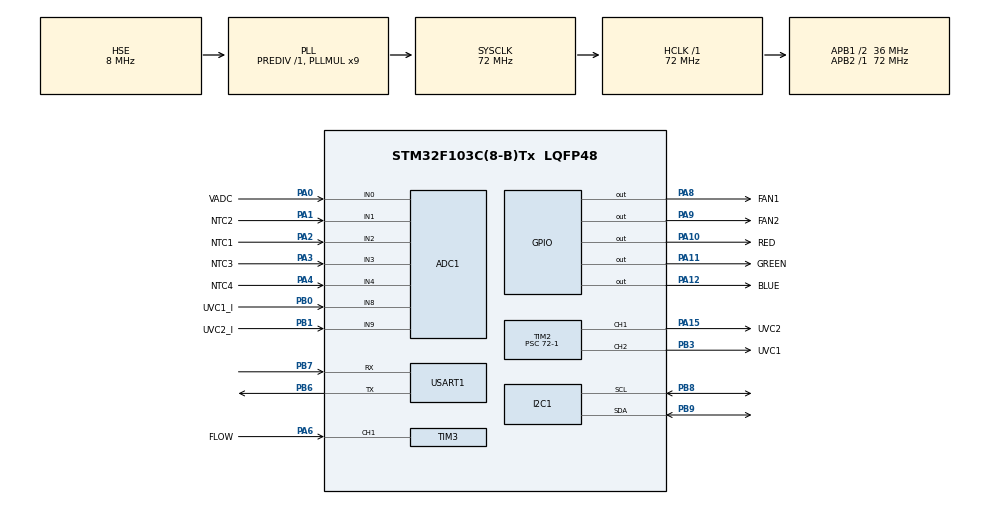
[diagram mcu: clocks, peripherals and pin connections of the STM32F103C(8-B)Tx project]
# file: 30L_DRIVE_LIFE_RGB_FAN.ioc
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ADC1.Channel-0\#ChannelRegularConversion=ADC_CHANNEL_0
ADC1.Channel-2\#ChannelRegularConversion=ADC_CHANNEL_1
ADC1.Channel-3\#ChannelRegularConversion=ADC_CHANNEL_1
ADC1.Channel-4\#ChannelRegularConversion=ADC_CHANNEL_2
ADC1.Channel-5\#ChannelRegularConversion=ADC_CHANNEL_3
ADC1.Channel-6\#ChannelRegularConversion=ADC_CHANNEL_4
ADC1.Channel-7\#ChannelRegularConversion=ADC_CHANNEL_8
ADC1.ContinuousConvMode=DISABLE
ADC1.NbrOfConversion=7
ADC1.NbrOfConversionFlag=1
ADC1.Rank-0\#ChannelRegularConversion=1
ADC1.Rank-2\#ChannelRegularConversion=2
ADC1.Rank-3\#ChannelRegularConversion=3
ADC1.Rank-4\#ChannelRegularConversion=4
ADC1.Rank-5\#ChannelRegularConversion=5
ADC1.Rank-6\#ChannelRegularConversion=6
ADC1.Rank-7\#ChannelRegularConversion=7
ADC1.SamplingTime-0\#ChannelRegularConversion=ADC_SAMPLETIME_55CYCLES_5
ADC1.SamplingTime-2\#ChannelRegularConversion=ADC_SAMPLETIME_55CYCLES_5
ADC1.SamplingTime-3\#ChannelRegularConversion=ADC_SAMPLETIME_55CYCLES_5
ADC1.SamplingTime-4\#ChannelRegularConversion=ADC_SAMPLETIME_55CYCLES_5
ADC1.SamplingTime-5\#ChannelRegularConversion=ADC_SAMPLETIME_55CYCLES_5
ADC1.SamplingTime-6\#ChannelRegularConversion=ADC_SAMPLETIME_55CYCLES_5
ADC1.SamplingTime-7\#ChannelRegularConversion=ADC_SAMPLETIME_55CYCLES_5
ADC1.master=1
Dma.ADC1.0.Direction=DMA_PERIPH_TO_MEMORY
Dma.ADC1.0.Instance=DMA1_Channel1
Dma.ADC1.0.MemDataAlignment=DMA_MDATAALIGN_HALFWORD
Dma.ADC1.0.MemInc=DMA_MINC_ENABLE
Dma.ADC1.0.Mode=DMA_CIRCULAR
Dma.ADC1.0.PeriphDataAlignment=DMA_PDATAALIGN_HALFWORD
Dma.ADC1.0.PeriphInc=DMA_PINC_DISABLE
Dma.ADC1.0.Priority=DMA_PRIORITY_MEDIUM
Dma.Request0=ADC1
Mcu.Family=STM32F1
Mcu.Name=STM32F103C(8-B)Tx
Mcu.Package=LQFP48
NVIC.DMA1_Channel1_IRQn=true\:0\:0\:false\:false\:true\:false\:true\:true
NVIC.PVD_IRQn=true\:0\:0\:false\:false\:true\:true\:true\:true
NVIC.PriorityGroup=NVIC_PRIORITYGROUP_4
PA0-WKUP.GPIO_Label=VADC
PA0-WKUP.Signal=ADCx_IN0
PA1.GPIO_Label=NTC2
PA1.Signal=ADCx_IN1
PA10.GPIO_Label=RED
PA10.Signal=GPIO_Output
PA11.GPIO_Label=GREEN
PA11.Signal=GPIO_Output
PA12.GPIO_Label=BLUE
PA12.Signal=GPIO_Output
PA13.Mode=Serial_Wire
PA13.Signal=SYS_JTMS-SWDIO
PA14.Mode=Serial_Wire
PA14.Signal=SYS_JTCK-SWCLK
PA15.GPIO_Label=UVC2
PA15.Signal=S_TIM2_CH1_ETR
PA2.GPIO_Label=NTC1
PA2.Signal=ADCx_IN2
PA3.GPIO_Label=NTC3
PA3.Signal=ADCx_IN3
PA4.GPIO_Label=NTC4
PA4.Signal=ADCx_IN4
PA6.GPIO_Label=FLOW
PA6.Signal=S_TIM3_CH1
PA8.GPIO_Label=FAN1
PA8.Signal=GPIO_Output
PA9.GPIO_Label=FAN2
PA9.Signal=GPIO_Output
PB0.GPIO_Label=UVC1_I
PB0.Signal=ADCx_IN8
PB1.GPIO_Label=UVC2_I
PB1.Signal=ADCx_IN9
PB3.GPIO_Label=UVC1
PB3.Signal=S_TIM2_CH2
PB6.Mode=Asynchronous
PB6.Signal=USART1_TX
PB7.Mode=Asynchronous
PB7.Signal=USART1_RX
PB8.Mode=I2C
PB8.Signal=I2C1_SCL
PB9.Mode=I2C
PB9.Signal=I2C1_SDA
PD0-OSC_IN.Mode=HSE-External-Oscillator
PD0-OSC_IN.Signal=RCC_OSC_IN
PD1-OSC_OUT.Mode=HSE-External-Oscillator
PD1-OSC_OUT.Signal=RCC_OSC_OUT
ProjectManager.HeapSize=0x200
ProjectManager.StackSize=0x400
ProjectManager.TargetToolchain=STM32CubeIDE
RCC.ADCPresc=RCC_ADCPCLK2_DIV6
RCC.AHBFreq_Value=72000000
RCC.APB1CLKDivider=RCC_HCLK_DIV2
RCC.APB1Freq_Value=36000000
RCC.APB1TimFreq_Value=72000000
RCC.APB2Freq_Value=72000000
RCC.APB2TimFreq_Value=72000000
RCC.HCLKFreq_Value=72000000
RCC.PLLMUL=RCC_PLL_MUL9
RCC.PLLSourceVirtual=RCC_PLLSOURCE_HSE
RCC.SYSCLKFreq_VALUE=72000000
RCC.SYSCLKSource=RCC_SYSCLKSOURCE_PLLCLK
RCC.USBFreq_Value=72000000
SH.ADCx_IN0.0=ADC1_IN0,IN0
SH.ADCx_IN1.0=ADC1_IN1,IN1
SH.ADCx_IN2.0=ADC1_IN2,IN2
SH.ADCx_IN3.0=ADC1_IN3,IN3
SH.ADCx_IN4.0=ADC1_IN4,IN4
SH.ADCx_IN8.0=ADC1_IN8,IN8
SH.ADCx_IN9.0=ADC1_IN9,IN9
SH.S_TIM2_CH1_ETR.0=TIM2_CH1,PWM Generation1 CH1
SH.S_TIM2_CH2.0=TIM2_CH2,PWM Generation2 CH2
SH.S_TIM3_CH1.0=TIM3_CH1,Input_Capture1_from_TI1
TIM2.Channel-PWM\ Generation1\ CH1=TIM_CHANNEL_1
TIM2.Channel-PWM\ Generation2\ CH2=TIM_CHANNEL_2
TIM2.Period=500
TIM2.Prescaler=72-1
TIM2.Pulse-PWM\ Generation1\ CH1=50
TIM2.Pulse-PWM\ Generation2\ CH2=50
TIM3.Channel-Input_Capture1_from_TI1=TIM_CHANNEL_1
TIM3.Prescaler=72-1
USART1.VirtualMode=VM_ASYNC
VP_TIM1_VS_ClockSourceINT.Mode=Internal
VP_TIM2_VS_ClockSourceINT.Mode=Internal
VP_TIM3_VS_ClockSourceINT.Mode=Internal
board=custom

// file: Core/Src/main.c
/* USER CODE BEGIN Header */
/**
  ******************************************************************************
  * @file           : main.c
  * @brief          : Main program body
  ******************************************************************************
  * @attention
  *
  * Copyright (c) 2024 STMicroelectronics.
  * All rights reserved.
  *
  * This software is licensed under terms that can be found in the LICENSE file
  * in the root directory of this software component.
  * If no LICENSE file comes with this software, it is provided AS-IS.
  *
  ******************************************************************************
  */
/* USER CODE END Header */
#include "main.h"
#include "adc.h"
#include "dma.h"
#include "i2c.h"
#include "tim.h"
#include "usart.h"
#include "gpio.h"

/* USER CODE BEGIN Includes */
#include "SmartFan.h"
#include "EEPROM.h"
#include "UvcDrive.h"
#include "RgbLedDrive.h"
#include "SysAdcValue.h"
#include "time.h"
/* USER CODE END Includes */

void SystemClock_Config(void);

int main(void)
{

  /* MCU Configuration--------------------------------------------------------*/

  /* Reset of all peripherals, Initializes the Flash interface and the Systick. */
  HAL_Init();

  /* Configure the system clock */
  SystemClock_Config();

  /* Initialize all configured peripherals */
  MX_GPIO_Init();
  MX_DMA_Init();
  MX_ADC1_Init();
  MX_TIM1_Init();
  MX_TIM2_Init();
  MX_TIM3_Init();
  MX_USART1_UART_Init();
  MX_I2C1_Init();
  /* USER CODE BEGIN 2 */
  HAL_TIM_Base_Start(&htim2);
  HAL_TIM_IC_Start_IT(&htim3,TIM_CHANNEL_1);//开启TIM3 PWM捕获

  HAL_ADCEx_Calibration_Start(&hadc1);//ADC自动校准
  HAL_Delay(200);//延时200ms
  printf("XJY Drive Test Version.\r\n");
  printf("Creat By Jacky Ver:T1.0\r\n");
  //AT24CWrite();
  UvcHighDrive();
  /* USER CODE END 2 */

  /* Infinite loop */
  /* USER CODE BEGIN WHILE */
  while (1)
  {
    // ShowLedColor(RED,1);
    // SmartFan();
    // UvcHighDrive();
    HAL_Delay(1000);
    SystemInfo();
    SmartFan();
    ShowLedColor(RED,ON);

    /* USER CODE END WHILE */

  }
}

void SystemClock_Config(void)
{
  RCC_OscInitTypeDef RCC_OscInitStruct = {0};
  RCC_ClkInitTypeDef RCC_ClkInitStruct = {0};
  RCC_PeriphCLKInitTypeDef PeriphClkInit = {0};

  /** Initializes the RCC Oscillators according to the specified parameters
  * in the RCC_OscInitTypeDef structure.
  */
  RCC_OscInitStruct.OscillatorType = RCC_OSCILLATORTYPE_HSE;
  RCC_OscInitStruct.HSEState = RCC_HSE_ON;
  RCC_OscInitStruct.HSEPredivValue = RCC_HSE_PREDIV_DIV1;
  RCC_OscInitStruct.HSIState = RCC_HSI_ON;
  RCC_OscInitStruct.PLL.PLLState = RCC_PLL_ON;
  RCC_OscInitStruct.PLL.PLLSource = RCC_PLLSOURCE_HSE;
  RCC_OscInitStruct.PLL.PLLMUL = RCC_PLL_MUL9;
  if (HAL_RCC_OscConfig(&RCC_OscInitStruct) != HAL_OK)
  {
    Error_Handler();
  }

  /** Initializes the CPU, AHB and APB buses clocks
  */
  RCC_ClkInitStruct.ClockType = RCC_CLOCKTYPE_HCLK|RCC_CLOCKTYPE_SYSCLK
                              |RCC_CLOCKTYPE_PCLK1|RCC_CLOCKTYPE_PCLK2;
  RCC_ClkInitStruct.SYSCLKSource = RCC_SYSCLKSOURCE_PLLCLK;
  RCC_ClkInitStruct.AHBCLKDivider = RCC_SYSCLK_DIV1;
  RCC_ClkInitStruct.APB1CLKDivider = RCC_HCLK_DIV2;
  RCC_ClkInitStruct.APB2CLKDivider = RCC_HCLK_DIV1;

  if (HAL_RCC_ClockConfig(&RCC_ClkInitStruct, FLASH_LATENCY_2) != HAL_OK)
  {
    Error_Handler();
  }
  PeriphClkInit.PeriphClockSelection = RCC_PERIPHCLK_ADC;
  PeriphClkInit.AdcClockSelection = RCC_ADCPCLK2_DIV6;
  if (HAL_RCCEx_PeriphCLKConfig(&PeriphClkInit) != HAL_OK)
  {
    Error_Handler();
  }
}

void Error_Handler(void)
{
  __disable_irq();
  while (1)
  {
  }
}
